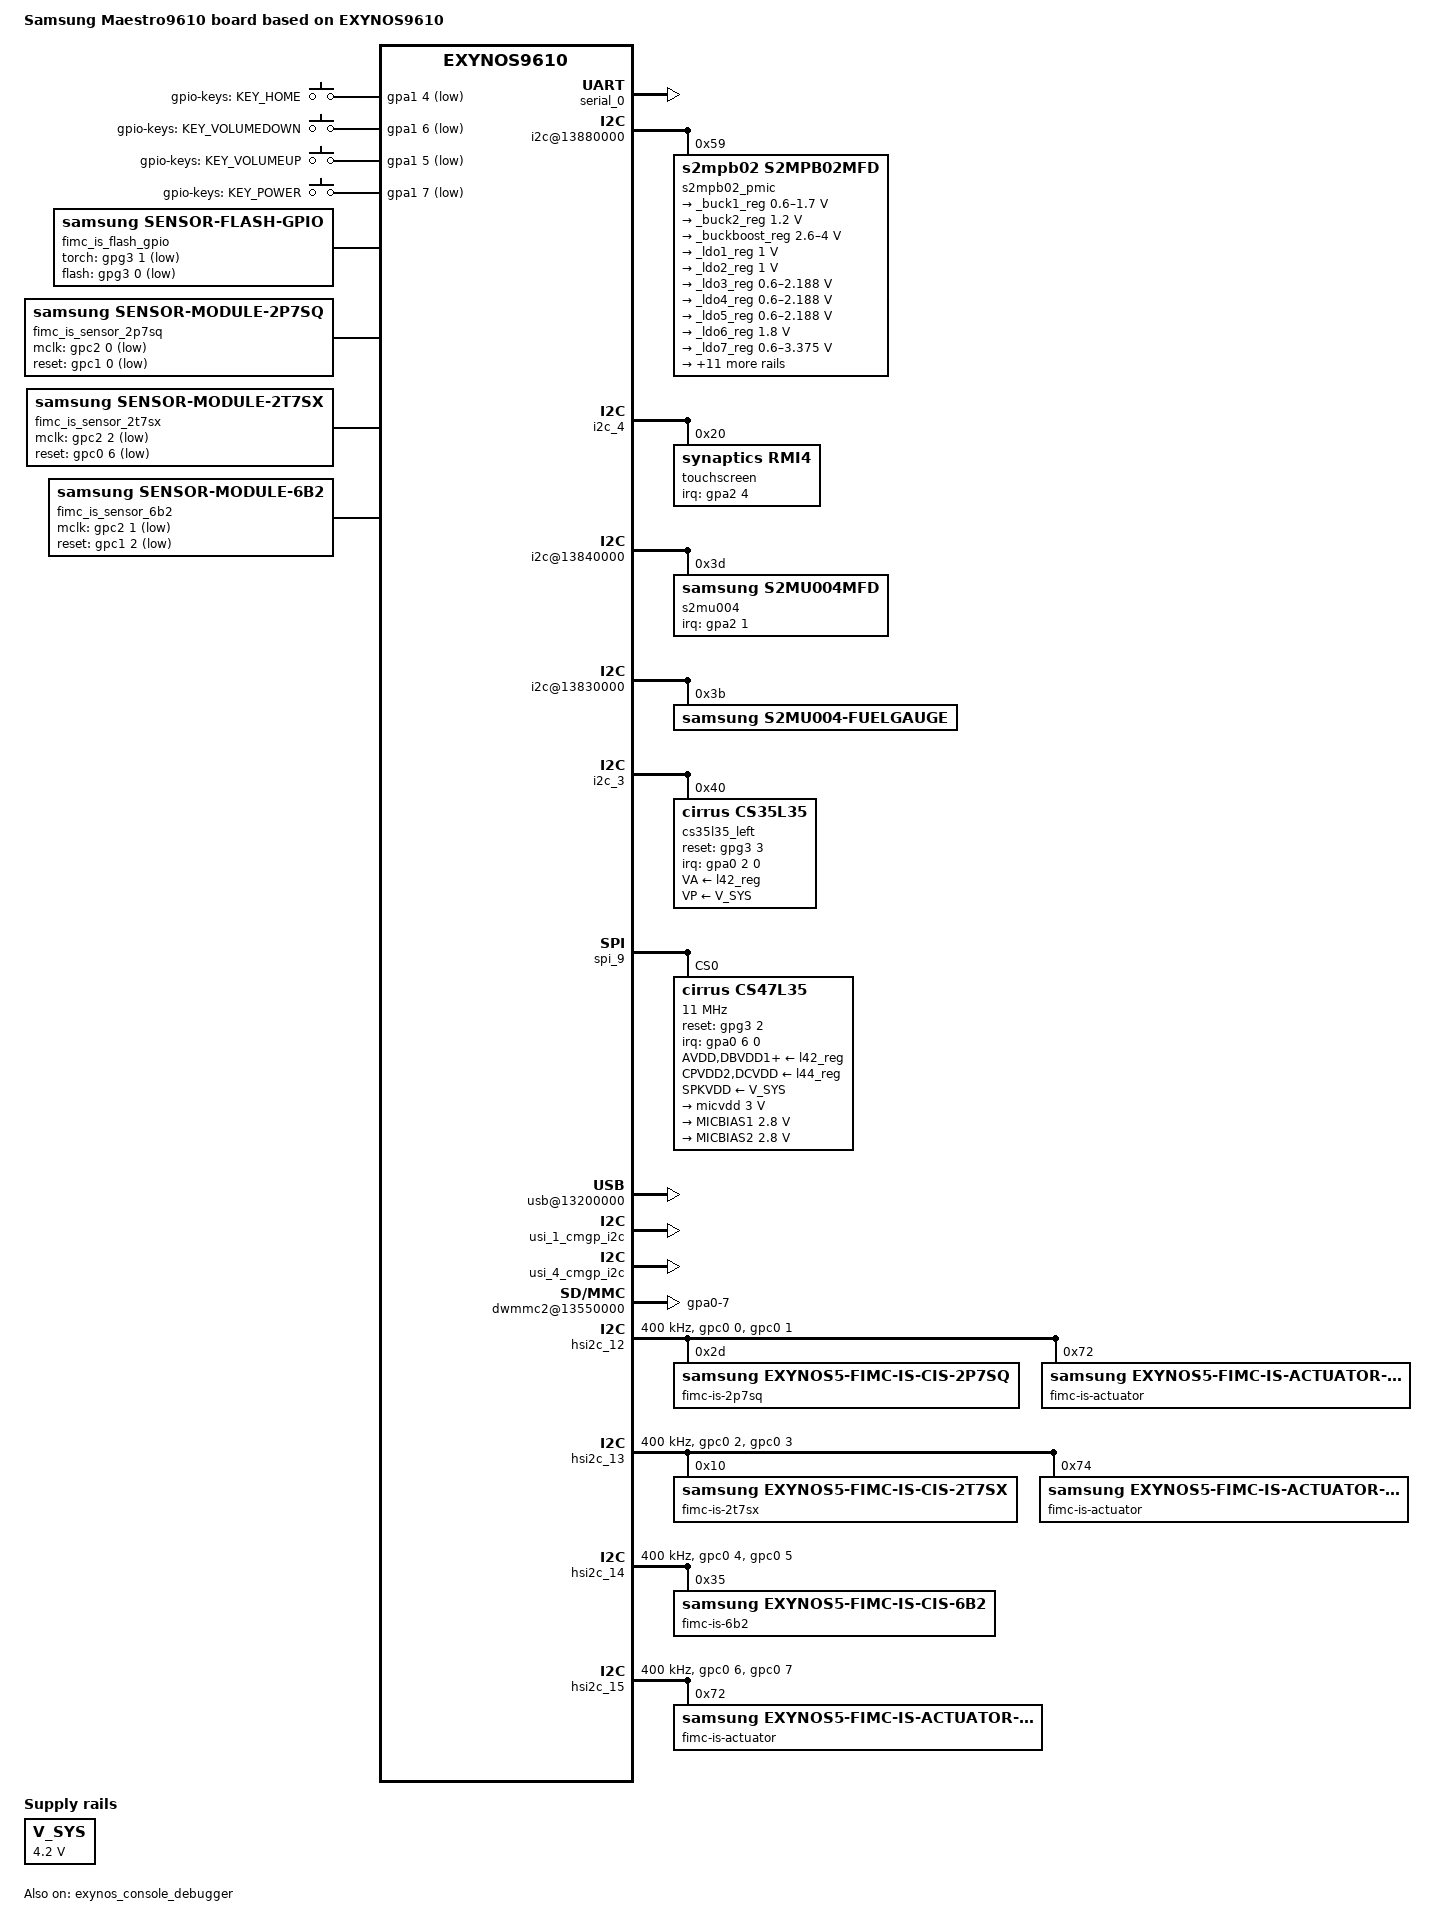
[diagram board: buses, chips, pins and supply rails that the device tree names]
/*
 * SAMSUNG EXYNOS9610 board device tree source
 *
 * Copyright (c) 2017 Samsung Electronics Co., Ltd.
 *		http://www.samsung.com
 *
 * This program is free software; you can redistribute it and/or modify
 * it under the terms of the GNU General Public License version 2 as
 * published by the Free Software Foundation.
 */

/dts-v1/;
#include "exynos9610-rmem.dtsi"
#include "exynos9610.dtsi"
#include "exynos9610-display-lcd.dtsi"
#include "exynos9610_battery_data.dtsi"
#include "modem-ss360ap-sit-pdata.dtsi"

/ {
	model = "Samsung Maestro9610 board based on EXYNOS9610";
	compatible = "samsung,exynos9610", "samsung,Maestro9610";

	ect {
		parameter_address = <0x90000000>;
		parameter_size = <0x19000>;
	};

	chosen {
		bootargs = "console=ram root=/dev/ram0 clk_ignore_unused bcm_setup=0xffffff80f8e00000 androidboot.hardware=samsungexynos9610 androidboot.selinux=permissive androidboot.debug_level=0x4948 firmware_class.path=/vendor/firmware ecd_setup=disable reserve-fimc=0xffffff80fa000000";
		linux,initrd-start = <0x84000000>;
		linux,initrd-end = <0x841FFFFF>;
	};

	fixed-rate-clocks {
		oscclk {
			compatible = "samsung,exynos9610-oscclk";
			clock-frequency = <26000000>;
		};
	};

	firmware {
		android {
			compatible = "android,firmware";
			fstab {
				compatible = "android,fstab";
				system {
					compatible = "android,system";
					dev = "/dev/block/platform/13520000.ufs/by-name/system";
					type = "ext4";
					mnt_flags = "ro";
					fsmgr_flags = "wait";
				};
				vendor {
					compatible = "android,vendor";
					dev = "/dev/block/platform/13520000.ufs/by-name/vendor";
					type = "ext4";
					mnt_flags = "ro";
					fsmgr_flags = "wait";
				};
			};
		};
	};

	serial_0: uart@13820000 {
		status = "okay";
	};

	/* UART_DBG */
	exynos_console_debugger {
		compatible = "samsung,exynos_console_debugger";
		reg = <0x0 0x13820000 0x100>;
		interrupts = <0 246 0>;
		interrupt-names = "uart_irq";
		pinctrl-names = "default";
		pinctrl-0 = <&uart0_bus>;
		uart_port = <0>;
		/* <sfr_base_address sfr_size> */
		sfr_reg = <0x10000000 0x10000000>;
		samsung,usi-serial-v2;
		status = "ok";
       };

	dsim_0: dsim@0x148E0000 {
		lcd_info = <&s6e3fa0>;
		/* reset */
		gpios = <&gpg1 4 0x1>, <&gpg1 7 0x1>;
	};

	pinctrl@11850000 {
		pmic_irq: pmic-irq {
			samsung,pins = "gpa2-0";
			samsung,pin-pud = <3>;
			samsung,pin-drv = <3>;
		};
		sub_pmic_irq: sub-pmic-irq {
			samsung,pins = "gpa1-3";
			samsung,pin-function = <0>;
			samsung,pin-pud = <0>;
			samsung,pin-drv = <0>;
		};
	};

	pinctrl@139B0000 {
		/* Warm reset information from AP */
		pm_wrsti: pm-wrsti {
			samsung,pins = "gpg0-7";
			samsung,pin-con-pdn = <3>;
		};
	};

	exynos_rgt {
		compatible = "samsung,exynos-rgt";
	};

	mailbox_cp: mcu_ipc@11920000 {
		compatible = "samsung,exynos-shd-ipc-mailbox";
		reg = <0x0 0x11920000 0x180>;
		mcu,name = "mcu_ipc_cp";
		mcu,id = <0>;
		interrupts = <0 40 0 >;
	};

	mailbox_gnss: mcu_ipc@11A00000 {
		compatible = "samsung,exynos-shd-ipc-mailbox";
		reg = <0x0 0x11A00000 0x180>;
		mcu,name = "mcu_ipc_gnss";
		mcu,id = <1>;
		interrupts = <GIC_SPI 43 IRQ_TYPE_NONE>; /* INTREQ__MAILBOX_GNSS2AP */
	};

	gnss_pdata {
		status = "okay";

		compatible = "samsung,gnss_shdmem_if";
		shmem,name = "KEPLER";
		shmem,device_node_name = "gnss_ipc";

		/* INTREQ__ALIVE_GNSS_ACTIVE, INTREQ__GNSS2AP_WDOG_RESET, INTREQ__GNSS2AP_WAKEUP, INTREQ__GNSS2AP */
		interrupts = <GIC_SPI 27 IRQ_TYPE_NONE>, <GIC_SPI 81 IRQ_TYPE_NONE>, <GIC_SPI 80 IRQ_TYPE_NONE>, <GIC_SPI 79 IRQ_TYPE_NONE>;
		interrupt-names = "ACTIVE", "WATCHDOG", "WAKEUP", "REQ_INIT";

		memory-region = <&gnss_reserved>;
		mbox_info = <&mailbox_gnss>;

		mbx,int_ap2gnss_bcmd = <0>;
		mbx,int_ap2gnss_req_fault_info = <1>;
		mbx,int_ap2gnss_ipc_msg = <2>;
		mbx,int_ap2gnss_ack_wake_set = <3>;
		mbx,int_ap2gnss_ack_wake_clr = <4>;

		mbx,irq_gnss2ap_bcmd = <0>;
		mbx,irq_gnss2ap_rsp_fault_info = <1>;
		mbx,irq_gnss2ap_ipc_msg = <2>;
		mbx,irq_gnss2ap_req_wake_clr = <4>;

		mbx,reg_bcmd_ctrl = <0>, <1>, <2>, <3>;

		reg_rx_ipc_msg = <1 5>;
		reg_tx_ipc_msg = <1 4>;
		reg_rx_head = <1 3>;
		reg_rx_tail = <1 2>;
		reg_tx_head = <1 1>;
		reg_tx_tail = <1 0>;
		fault_info = <1 0x200000 0x180000>;

		shmem,ipc_offset = <0x380000>;
		shmem,ipc_size = <0x80000>;
		shmem,ipc_reg_cnt = <32>;
	};

	speedy@11a10000 {
		status = "okay";

		s2mpu09mfd@00 {
			compatible = "samsung,s2mpu09mfd";
			acpm-ipc-channel = <2>;
			i2c-speedy-address;
			s2mpu09,wakeup = "enabled";
			s2mpu09,irq-gpio = <&gpa2 0 0>;
			reg = <0x00>;
			interrupts = <2 0 0>;
			interrupt-parent = <&gpa2>;
			pinctrl-names = "default";
			pinctrl-0 = <&pmic_irq &pm_wrsti>;
			/* RTC: wtsr/smpl */
			wtsr_en = "enabled"; /* enable */
			smpl_en = "enabled"; /* enable */
			wtsr_timer_val = <3>;	/* 1000ms */
			smpl_timer_val = <4>;	/* 500ms */
			check_jigon = <0>; /* do not check jigon */
			/* RTC: If it's first boot, reset rtc to 1/1/2017 12:00:00(Sun) */
			init_time,sec = <0>;
			init_time,min = <0>;
			init_time,hour = <12>;
			init_time,mday = <1>;
			init_time,mon = <0>;
			init_time,year = <117>;
			init_time,wday = <0>;

			regulators {
				b1_reg: BUCK1 {
					regulator-name = "vdd_mif";
					regulator-min-microvolt = <500000>;
					regulator-max-microvolt = <1100000>;
					regulator-always-on;
					regulator-ramp-delay = <12000>;
					regulator-initial-mode = <2>;
				};

				b2_reg: BUCK2 {
					regulator-name = "vdd_cpucl1";
					regulator-min-microvolt = <500000>;
					regulator-max-microvolt = <1300000>;
					regulator-always-on;
					regulator-ramp-delay = <12000>;
					regulator-initial-mode = <1>;
				};

				b3_reg: BUCK3 {
					regulator-name = "vdd_cpucl0";
					regulator-min-microvolt = <500000>;
					regulator-max-microvolt = <1300000>;
					regulator-always-on;
					regulator-ramp-delay = <12000>;
					regulator-initial-mode = <1>;
				};

				b4_reg: BUCK4{
					regulator-name = "vdd_int";
					regulator-min-microvolt = <500000>;
					regulator-max-microvolt = <1100000>;
					regulator-always-on;
					regulator-ramp-delay = <12000>;
					regulator-initial-mode = <2>;
				};

				b5_reg: BUCK5 {
					regulator-name = "vdd_g3d";
					regulator-min-microvolt = <500000>;
					regulator-max-microvolt = <1200000>;
					regulator-always-on;
					regulator-ramp-delay = <12000>;
					regulator-initial-mode = <2>;
				};

				b6_reg: BUCK6 {
					regulator-name = "vdd_cam_vipx";
					regulator-min-microvolt = <500000>;
					regulator-max-microvolt = <1300000>;
					regulator-always-on;
					regulator-ramp-delay = <12000>;
					regulator-initial-mode = <2>;
				};

				b7_reg: BUCK7 {
					regulator-name = "vdd2_mem";
					regulator-min-microvolt = <500000>;
					regulator-max-microvolt = <1300000>;
					regulator-always-on;
					regulator-ramp-delay = <12000>;
					regulator-initial-mode = <3>;
				};

				b8_reg: BUCK8 {
					regulator-name = "vdd_lldo";
					regulator-min-microvolt = <1200000>;
					regulator-max-microvolt = <1500000>;
					regulator-always-on;
					regulator-ramp-delay = <12000>;
					regulator-initial-mode = <3>;
				};

				b9_reg: BUCK9 {
					regulator-name = "vdd_mldo";
					regulator-min-microvolt = <1800000>;
					regulator-max-microvolt = <2100000>;
					regulator-always-on;
					regulator-ramp-delay = <12000>;
					regulator-initial-mode = <3>;
				};

				l1_reg: LDO1 {
					regulator-name = "vdd_ldo1";
					regulator-min-microvolt = <700000>;
					regulator-max-microvolt = <1300000>;
					regulator-always-on;
					regulator-ramp-delay = <12000>;
					regulator-initial-mode = <3>;
				};

				l2_reg: LDO2 {
					regulator-name = "vqmmc";
					regulator-min-microvolt = <1800000>;
					regulator-max-microvolt = <3375000>;
					regulator-ramp-delay = <12000>;
				};

				l3_reg: LDO3 {
					regulator-name = "vdd_ldo3";
					regulator-min-microvolt = <800000>;
					regulator-max-microvolt = <1950000>;
					regulator-always-on;
					regulator-ramp-delay = <12000>;
					regulator-initial-mode = <3>;
				};

				l4_reg: LDO4 {
					regulator-name = "vdd_ldo4";
					regulator-min-microvolt = <500000>;
					regulator-max-microvolt = <1100000>;
					regulator-always-on;
					regulator-ramp-delay = <12000>;
					regulator-initial-mode = <1>;
				};

				l5_reg: LDO5 {
					regulator-name = "vdd_ldo5";
					regulator-min-microvolt = <800000>;
					regulator-max-microvolt = <1300000>;
					regulator-always-on;
					regulator-ramp-delay = <12000>;
					regulator-initial-mode = <1>;
				};

				l6_reg: LDO6 {
					regulator-name = "vdd_ldo6";
					regulator-min-microvolt = <800000>;
					regulator-max-microvolt = <1300000>;
					regulator-always-on;
					regulator-ramp-delay = <12000>;
					regulator-initial-mode = <1>;
				};

				l7_reg: LDO7 {
					regulator-name = "vdd_ldo7";
					regulator-min-microvolt = <800000>;
					regulator-max-microvolt = <1950000>;
					regulator-always-on;
					regulator-ramp-delay = <12000>;
					regulator-initial-mode = <1>;
				};

				l8_reg: LDO8 {
					regulator-name = "vdd_ldo8";
					regulator-min-microvolt = <500000>;
					regulator-max-microvolt = <1300000>;
					regulator-always-on;
					regulator-ramp-delay = <12000>;
					regulator-initial-mode = <1>;
				};

				l9_reg: LDO9 {
					regulator-name = "vdd_ldo9";
					regulator-min-microvolt = <500000>;
					regulator-max-microvolt = <1300000>;
					regulator-always-on;
					regulator-ramp-delay = <12000>;
					regulator-initial-mode = <1>;
				};

				l10_reg: LDO10 {
					regulator-name = "vdd_ldo10";
					regulator-min-microvolt = <500000>;
					regulator-max-microvolt = <1300000>;
					regulator-always-on;
					regulator-ramp-delay = <12000>;
					regulator-initial-mode = <1>;
				};

				l11_reg: LDO11 {
					regulator-name = "vdd_ldo11";
					regulator-min-microvolt = <500000>;
					regulator-max-microvolt = <1300000>;
					regulator-always-on;
					regulator-ramp-delay = <12000>;
					regulator-initial-mode = <3>;
				};

				l12_reg: LDO12 {
					regulator-name = "vdd_ldo12";
					regulator-min-microvolt = <800000>;
					regulator-max-microvolt = <1300000>;
					regulator-always-on;
					regulator-ramp-delay = <12000>;
					regulator-initial-mode = <3>;
				};

				l13_reg: LDO13 {
					regulator-name = "vdd_ldo13";
					regulator-min-microvolt = <800000>;
					regulator-max-microvolt = <1950000>;
					regulator-always-on;
					regulator-ramp-delay = <12000>;
					regulator-initial-mode = <3>;
				};

				l14_reg: LDO14 {
					regulator-name = "vdd_ldo14";
					regulator-min-microvolt = <1800000>;
					regulator-max-microvolt = <3375000>;
					regulator-always-on;
					regulator-ramp-delay = <12000>;
					regulator-initial-mode = <3>;
				};

				l33_reg: LDO33 {
					regulator-name = "vdd_ldo33";
					regulator-min-microvolt = <800000>;
					regulator-max-microvolt = <1950000>;
					regulator-ramp-delay = <12000>;
				};

				l34_reg: LDO34 {
					regulator-name = "vdd_ldo34";
					regulator-min-microvolt = <1800000>;
					regulator-max-microvolt = <3375000>;
					regulator-ramp-delay = <12000>;
				};

				l35_reg: LDO35 {
					regulator-name = "vmmc";
					regulator-min-microvolt = <1800000>;
					regulator-max-microvolt = <3375000>;
					regulator-ramp-delay = <12000>;
				};

				l36_reg: LDO36 {
					regulator-name = "vdd_ldo36";
					regulator-min-microvolt = <500000>;
					regulator-max-microvolt = <1300000>;
					regulator-always-on;
					regulator-ramp-delay = <12000>;
					regulator-initial-mode = <1>;
				};

				l37_reg: LDO37 {
					regulator-name = "vdd_ldo37";
					regulator-min-microvolt = <1800000>;
					regulator-max-microvolt = <3375000>;
					regulator-ramp-delay = <12000>;
				};

				l38_reg: LDO38 {
					regulator-name = "vdd_ldo38";
					regulator-min-microvolt = <1800000>;
					regulator-max-microvolt = <3375000>;
					regulator-ramp-delay = <12000>;
					regulator-always-on;
				};

				l39_reg: LDO39 {
					regulator-name = "vdd_ldo39";
					regulator-min-microvolt = <800000>;
					regulator-max-microvolt = <1950000>;
					regulator-ramp-delay = <12000>;
					regulator-always-on;
				};

				l40_reg: LDO40 {
					regulator-name = "vdd_ldo40";
					regulator-min-microvolt = <1800000>;
					regulator-max-microvolt = <3375000>;
					regulator-ramp-delay = <12000>;
					regulator-initial-mode = <3>;
					regulator-always-on;
				};

				l41_reg: LDO41 {
					regulator-name = "vdd_ldo41";
					regulator-min-microvolt = <1800000>;
					regulator-max-microvolt = <3375000>;
					regulator-ramp-delay = <12000>;
				};

				l42_reg: LDO42 {
					regulator-name = "vdd_ldo42";
					regulator-min-microvolt = <800000>;
					regulator-max-microvolt = <1950000>;
					regulator-ramp-delay = <12000>;
				};

				l43_reg: LDO43 {
					regulator-name = "vdd_ldo43";
					regulator-min-microvolt = <500000>;
					regulator-max-microvolt = <1300000>;
					regulator-always-on;
					regulator-ramp-delay = <12000>;
					regulator-initial-mode = <1>;
				};

				l44_reg: LDO44 {
					regulator-name = "vdd_ldo44";
					regulator-min-microvolt = <800000>;
					regulator-max-microvolt = <1300000>;
					regulator-ramp-delay = <12000>;
				};
			};
		};
	};

	i2c@13880000 {
		status = "okay";
		s2mpb02_pmic@59 {
			compatible = "s2mpb02,s2mpb02mfd";
			reg = <0x59>;

			s2mpb02,wakeup;
			pinctrl-names = "default";
			pinctrl-0 = <&sub_pmic_irq>;

			regulators {
				_buck1_reg: s2mpb02-buck1 {
					regulator-name = "VDD_EXT_1P3_PB03";
					regulator-min-microvolt = <600000>;
					regulator-max-microvolt = <1700000>;
					regulator-always-on;
					regulator-boot-on;
				};

				_buck2_reg: s2mpb02-buck2 {
					regulator-name = "SVDDD_1.2V";
					regulator-min-microvolt = <1200000>;
					regulator-max-microvolt = <1200000>;
				};

				_buckboost_reg: s2mpb02-bb {
					regulator-name = "VREG_BOOST_BYP";
					regulator-min-microvolt = <2600000>;
					regulator-max-microvolt = <4000000>;
					regulator-always-on;
					regulator-boot-on;
				};

				_ldo1_reg: s2mpb02-ldo1 {
					regulator-name = "VDDD_1.0V_CAM_T";
					regulator-min-microvolt = <1000000>;
					regulator-max-microvolt = <1000000>;
				};

				_ldo2_reg: s2mpb02-ldo2 {
					regulator-name = "VDDD_1.0V_CAM";
					regulator-min-microvolt = <1000000>;
					regulator-max-microvolt = <1000000>;
				};

				_ldo3_reg: s2mpb02-ldo3 {
					regulator-name = "VDDD_1.05V_SUB";
					regulator-min-microvolt = <600000>;
					regulator-max-microvolt = <2187500>;
				};

				_ldo4_reg: s2mpb02-ldo4 {
					regulator-name = "S2MPB02_LDO4";
					regulator-min-microvolt = <600000>;
					regulator-max-microvolt = <2187500>;
				};

				_ldo5_reg: s2mpb02-ldo5 {
					regulator-name = "VDDD_1.05V_VT";
					regulator-min-microvolt = <600000>;
					regulator-max-microvolt = <2187500>;
				};

				_ldo6_reg: s2mpb02-ldo6 {
					regulator-name = "VDDIO_1.8V_CAM_T";
					regulator-min-microvolt = <1800000>;
					regulator-max-microvolt = <1800000>;
				};

				_ldo7_reg: s2mpb02-ldo7 {
					regulator-name = "VDDIO_1.8V_SUB";
					regulator-min-microvolt = <600000>;
					regulator-max-microvolt = <3375000>;
				};

				_ldo8_reg: s2mpb02-ldo8 {
					regulator-name = "VDDIO_1.8V_CAM";
					regulator-min-microvolt = <1800000>;
					regulator-max-microvolt = <1800000>;
				};

				_ldo9_reg: s2mpb02-ldo9 {
					regulator-name = "DOVDD_VT_CAM_1V8";
					regulator-min-microvolt = <1800000>;
					regulator-max-microvolt = <1800000>;
				};

				_ldo10_reg: s2mpb02-ldo10 {
					regulator-name = "VDDD_1.8V_OIS";
					regulator-min-microvolt = <600000>;
					regulator-max-microvolt = <3375000>;
				};

				_ldo11_reg: s2mpb02-ldo11 {
					regulator-name = "VDDA_2.8V_CAM";
					regulator-min-microvolt = <2800000>;
					regulator-max-microvolt = <2800000>;
				};

				_ldo12_reg: s2mpb02-ldo12 {
					regulator-name = "VDDD_2.8V_OIS";
					regulator-min-microvolt = <2800000>;
					regulator-max-microvolt = <2800000>;
				};

				_ldo13_reg: s2mpb02-ldo13 {
					regulator-name = "VDDA_2.8V_CAM_T";
					regulator-min-microvolt = <2800000>;
					regulator-max-microvolt = <2800000>;
				};

				_ldo14_reg: s2mpb02-ldo14 {
					regulator-name = "VDD_VT_CAM_2V8";
					regulator-min-microvolt = <2800000>;
					regulator-max-microvolt = <2800000>;
				};

				_ldo15_reg: s2mpb02-ldo15 {
					regulator-name = "VDDD_2.8V_OIS_T";
					regulator-min-microvolt = <2800000>;
					regulator-max-microvolt = <2800000>;
				};

				_ldo16_reg: s2mpb02-ldo16 {
					regulator-name = "VDD_2.8V_OIS";
					regulator-min-microvolt = <2800000>;
					regulator-max-microvolt = <2800000>;
				};

				_ldo17_reg: s2mpb02-ldo17 {
					regulator-name = "S2MPB02_LDO17";
					regulator-min-microvolt = <600000>;
					regulator-max-microvolt = <3375000>;
				};

				_ldo18_reg: s2mpb02-ldo18 {
					regulator-name = "VDD_PROXY_LED_3P3";
					regulator-min-microvolt = <600000>;
					regulator-max-microvolt = <3375000>;
				};
			};

			torch {
				torch1-gpio = "gpg3-1";
				flash1-gpio = "gpg3-0";

				status = "okay";

				leds1 {
					ledname = "leds-sec1";
					id = <0>;
					brightness = <0xC>; /* (n+1)x100 : 1300mA */
					timeout = <0x7>; /* (n+1)x62.6 : 500ms */
					torch_table_enable = <0>;
				};

				leds2 {
					ledname = "torch-sec1";
					id = <1>;
					brightness = <0xC>; /* (n+1)x20 = 260mA */
					timeout = <0xF>;
					torch_table_enable = <1>;
					torch_table = <2 4 4 5 6 8 9 10 10 12>;
				};
			};
		};
	};

	gpio_keys {
		status = "okay";
		compatible = "gpio-keys";
		#address-cells = <1>;
		#size-cells = <0>;
		pinctrl-names = "default";
		pinctrl-0 = <&key_home &key_voldown &key_volup &key_power>;
		button@1 {
			label = "gpio-keys: KEY_HOME";
			linux,code = <172>;
			gpios = <&gpa1 4 0xf>;
			gpio-key,wakeup = <1>;
		};
		button@2 {
			label = "gpio-keys: KEY_VOLUMEDOWN";
			linux,code = <114>;
			gpios = <&gpa1 6 0xf>;
		};
		button@3 {
			label = "gpio-keys: KEY_VOLUMEUP";
			linux,code = <115>;
			gpios = <&gpa1 5 0xf>;
		};
		button@4 {
			label = "gpio-keys: KEY_POWER";
			linux,code = <116>;
			gpios = <&gpa1 7 0xf>;
			gpio-key,wakeup = <1>;
		};
	};

	pinctrl@11850000 {
		key_home: key-home {
			samsung,pins = "gpa1-4";
			samsung,pin-function = <0xf>;
			samsung,pin-pud = <0>;
			samsung,pin-drv = <0>;
		};

		key_voldown: key-voldown {
			samsung,pins = "gpa1-6";
			samsung,pin-function = <0xf>;
			samsung,pin-pud = <0>;
			samsung,pin-drv = <0>;
		};

		key_volup: key-volup {
			samsung,pins = "gpa1-5";
			samsung,pin-function = <0xf>;
			samsung,pin-pud = <0>;
			samsung,pin-drv = <0>;
		};
		key_power: key-power {
			samsung,pins = "gpa1-7";
			samsung,pin-function = <0xf>;
			samsung,pin-pud = <0>;
			samsung,pin-drv = <0>;
		};
	};

	i2c_4:i2c@13870000 {
		status = "okay";
		#address-cells = <1>;
		#size-cells = <0>;
		touchscreen@20 {
			compatible = "synaptics,rmi4";
			reg = <0x20>;
			pinctrl-names = "on_state", "off_state";
			pinctrl-0 = <&attn_irq>;
			pinctrl-1 = <&attn_input>;
			synaptics,irq_gpio = <&gpa2 4 0>;
			synaptics,irq_type = <8200>;
			synaptics,max_coords = <1440 2560>;     /* x y */
			synaptics,num_lines = <29 16>;          /* rx tx */
			synaptics,regulator_dvdd = "VDDD_1.8V_OIS";
			synaptics,regulator_avdd = "vdd_ldo41";
		};
	};

	pinctrl@11850000 {
		attn_irq: attn-irq {
			samsung,pins = "gpa2-4";
			samsung,pin-function = <0xf>;
			samsung,pin-pud = <0>;
			samsung,pin-drv = <0>;
		};
		attn_input: attn-input {
			samsung,pins = "gpa2-4";
			samsung,pin-function = <0>;
			samsung,pin-pud = <1>;
		};

		fuel_irq: fuel-irq {
			samsung,pins = "gpa2-3";
			samsung,pin-function = <0>;
			samsung,pin-pud = <2>;
			samsung,pin-drv = <0>;
		};

		if_pmic_irq: if-pmic-irq {
			samsung,pins = "gpa2-1";
			samsung,pin-function = <0>;
			samsung,pin-pud = <0>;
			samsung,pin-drv = <0>;
		};
	};

	i2c@13840000 {
		status = "okay";
		s2mu004@3d {
			compatible = "samsung,s2mu004mfd";
			reg = <0x3d>;
			pinctrl-names = "default";
			pinctrl-0 = <&if_pmic_irq>;
			s2mu004,irq-gpio = <&gpa2 1 0>;
			s2mu004,wakeup;
		};

		muic {
			status = "okay";
			muic,uart_addr = "11850000.pinctrl";
			muic,uart_rxd = "gpq0-3";
			muic,uart_txd = "gpq0-4";
		};
	};

	s2mu004-charger {
		status = "okay";
		battery,charger_name = "s2mu004-charger";
		battery,chg_gpio_en = <0>;
		battery,chg_polarity_en = <0>;
		battery,chg_gpio_status = <0>;
		battery,chg_polarity_status = <0>;
		battery,chg_float_voltage = <4350>;
		battery,chg_recharge_vcell = <4250>;
		battery,chg_full_vcell = <4300>;
		battery,full_check_type = <2>;
		battery,full_check_type_2nd = <2>;
		battery,input_current_limit = <1800 450 450 1800 500 900 1500 450 1000 450 900 900 900 1900 1800 450 450 400 700 1300 300 1000 1500 450 1650 2100 500 1650 80 1800 1650 1400 1000 1000 700 900 900 900 500 1800 1650 3000>;
		battery,fast_charging_current = <2100 450 450 2100 800 1200 1500 450 1200 450 2100 2100 2100 1600 2100 450 450 400 700 1300 300 1000 1500 450 2400 3500 500 2400 80 1800 1000 1400 450 1000 2100 2100 2100 2100 450 2100 2400 3000>;
		battery,full_check_current_1st = <300 0 0 300 300 300 300 300 300 0 300 300 300 300 300 0 0 300 300 300 300 300 300 0 300 300 300 300 0 300 300 300 0 300 300 300 300 300 300 300 300 300>;
		battery,full_check_current_2nd = <100 0 0 100 100 100 100 100 100 0 100 100 100 100 100 0 0 100 100 100 100 100 100 0 100 100 100 100 0 100 100 100 0 100 100 100 100 100 100 100 100 100>;
	};

	i2c@13830000 {
		status = "okay";
		s2mu004-fuelgauge@3B {
			compatible = "samsung,s2mu004-fuelgauge";
			reg = <0x3B>;
			pinctrl-names = "default";
			pinctrl-0 = <&fuel_irq>;
			fuelgauge,fuel_int = <&gpa2 3 0>;
			fuelgauge,fuel_alert_soc = <1>;
			fuelgauge,capacity_max = <1000>;
			fuelgauge,capacity_max_margin = <70>;
			fuelgauge,capacity_min = <0>;
			fuelgauge,capacity_calculation_type = <28>;
			fuelgauge,type_str = "SDI";
			fuelgauge,model_type = <1>;
		};
	};

	V_SYS: fixedregulator@0 {
		compatible = "regulator-fixed";
		regulator-name = "V_SYS";
		regulator-min-microvolt = <4200000>;
		regulator-max-microvolt = <4200000>;
		regulator-boot-on;
		regulator-always-on;
	};


	pinctrl@11850000 {
		amp_irq: amp-irq {
			samsung,pins ="gpa0-2";
			samsung,pin-function = <0xf>;
			samsung,pin-pud = <0>;
		};
	};

	pinctrl@139B0000 {
		amp_reset: amp-reset {
			samsung,pins ="gpg3-3";
			samsung,pin-pud = <0>;
			samsung,pin-con-pdn =<3>;
			samsung,pin-pud-pdn = <0>;
		};
	};

	i2c_3: i2c@13860000 {
		status = "okay";
		cs35l35_left: cs35l35@40 {
			#sound-dai-cells = <1>;
			compatible = "cirrus,cs35l35";
			reg = <0x40>;

			pinctrl-names = "default";
			pinctrl-0 = <&amp_irq &amp_reset>;

			interrupt-parent = <&gpa0>;
			interrupts = <2 0 0>;

			reset-gpios = <&gpg3 3 0>;

			VA-supply = <&l42_reg>;
			VP-supply = <&V_SYS>;

			cirrus,audio-channel = <0x0>;
			cirrus,boost-ctl-millivolt = <7300>;
			cirrus,sp-drv-strength = <0x1>;
			cirrus,sp-drv-unused = <0x0>;
			cirrus,boost-ind-nanohenry = <1000>;

			cirrus,monitor-signal-format {
				cirrus,imon = /bits/ 8 <0x03 0x04 0x00 0x06>;
				cirrus,vmon = /bits/ 8 <0x03 0x00 0x00>;
				cirrus,vpmon = /bits/ 8 <0x00 0x00 0x00>;
				cirrus,vbstmon = /bits/ 8 <0x00 0x00 0x00>;
				cirrus,vpbrstat = /bits/ 8 <0x00 0x00 0x00>;
				cirrus,zerofill = /bits/ 8 <0x00 0x00 0x00>;
			};
		};
	};

	pinctrl@139B0000 {
		codec_reset: codec-reset {
			samsung,pins ="gpg3-2";
			samsung,pin-pud = <0>;
			samsung,pin-con-pdn =<3>;
			samsung,pin-pud-pdn = <0>;
		};
	};

	spi_9: spi@13940000 {
		pinctrl-names = "default";
		pinctrl-0 = <&spi9_bus &spi9_cs_func>;
		status = "okay";
		cs47l35: cs47l35@0 {
			compatible = "cirrus,cs47l35";
			reg = <0x0>;

			spi-max-frequency = <11000000>;

			interrupts = <6 0 0>;
			interrupt-controller;
			#interrupt-cells = <2>;
			interrupt-parent = <&gpa0>;
			gpio-controller;
			#gpio-cells = <2>;
			#sound-dai-cells = <1>;

			AVDD-supply = <&l42_reg>;
			DBVDD1-supply = <&l42_reg>;
			DBVDD2-supply = <&l42_reg>;
			CPVDD1-supply = <&l42_reg>;
			CPVDD2-supply = <&l44_reg>;
			DCVDD-supply = <&l44_reg>;
			SPKVDD-supply = <&V_SYS>;

			reset-gpios = <&gpg3 2 0>;

			cirrus,dmic-ref = <0 0 0>;
			cirrus,inmode = <
				0 0 0 0 /* IN1 */
				0 0 0 0 /* IN2 */
			>;

			cirrus,gpsw = <3 0>;

			pinctrl-names = "default";
			pinctrl-0 = <&cs47l35_defaults &codec_reset>;

			cs47l35_defaults: cs47l35-gpio-defaults {
				aif1 {
					groups = "aif1";
					function = "aif1";
					bias-bus-hold;
				};

				aif2 {
					groups = "aif2";
					function = "aif2";
					bias-bus-hold;
				};

				aif3 {
					groups = "aif3";
					function = "aif3";
					bias-bus-hold;
				};

				gpio6 { /* Amp Clock */
					groups = "gpio6";
					function = "opclk";
					bias-pull-up;
					output-low;
				};

				gpio5 { /* Mic Polarity Flip */
					groups = "gpio5";
					function = "io";
				};
			};

			micvdd {
				regulator-min-microvolt = <3000000>;
				regulator-max-microvolt = <3000000>;
			};

			MICBIAS1 {
				regulator-min-microvolt = <2800000>;
				regulator-max-microvolt = <2800000>;
				cirrus,ext-cap = <1>;
			};
			MICBIAS1A {
				regulator-active-discharge = <1>;
			};
			MICBIAS1B {
				regulator-active-discharge = <1>;
			};

			MICBIAS2 {
				regulator-min-microvolt = <2800000>;
				regulator-max-microvolt = <2800000>;
				cirrus,ext-cap = <1>;
			};
			MICBIAS2B {
				regulator-active-discharge = <1>;
			};

			cirrus,accdet {
				#address-cells = <1>;
				#size-cells = <0>;

				acc@1 {
					reg = <1>;

					cirrus,micd-configs = <
						0 0 3 0 0
					>;
					cirrus,micd-bias-start-time = <8>;
					cirrus,micd-rate = <6>;
					cirrus,micd-pol-gpios = <&cs47l35 4 0>;
					cirrus,micd-detect-debounce-ms = <500>;
					cirrus,jd-use-jd2;
					cirrus,micd-clamp-mode = <0x8>;
				};
			};

			controller-data {
				samsung,spi-feedback-delay = <1>;
				samsung,spi-chip-select-mode = <0>;
			};
		};
	};

	dummy_audio_codec: audio_codec_dummy {
		status = "okay";
		compatible = "snd-soc-dummy";
	};

	dummy_audio_cpu: audio_cpu_dummy {
		compatible = "samsung,dummy-cpu";
		status = "okay";
	};

	sound {
		status = "okay";
		compatible = "samsung,exynos9610-madera";

		clock-names = "xclkout";
		clocks = <&clock OSC_AUD>;
		pinctrl-names = "default";
		pinctrl-0 = <&xclkout0>;

		cirrus,sysclk = <1 4 98304000>;
		cirrus,dspclk = <8 4 147456000>;
		cirrus,fll1-refclk = <1 0 26000000 98304000>;

		cirrus,opclk = <3 0 12288000>;

		samsung,routing =
			"HEADSETMIC", "MICBIAS2B",
			"MICBIAS2A", "MICBIAS2B",
			"IN1BL", "HEADSETMIC",
			"DMIC1", "MICBIAS1A",
			"IN1AL", "DMIC1",
			"DMIC2", "MICBIAS1B",
			"IN2L", "DMIC2",
			"RECEIVER", "EPOUTN",
			"RECEIVER", "EPOUTP",
			"HEADPHONE", "HPOUTL",
			"HEADPHONE", "HPOUTR",
			"AIF2 Playback", "OPCLK",
			"AIF2 Capture", "OPCLK",
			"VOUTPUT", "ABOX UAIF0 Playback",
			"SPEAKER", "Left SPK",
			"VOUTPUTCALL", "ABOX UAIF2 Playback",
			"ABOX UAIF2 Capture", "VINPUTCALL";

		samsung,codec = <&abox &abox_uaif_0 &abox_uaif_1 &abox_uaif_2
			&abox_uaif_4 &abox_dsif &abox_spdy &cs35l35_left>;
		samsung,prefix = "ABOX", "ABOX", "ABOX", "ABOX",
			"ABOX", "ABOX", "ABOX", "Left";
		samsung,aux = <&abox_effect &abox_bt>;

		rdma@0 {
			cpu {
				sound-dai = <&abox 0>;
			};
			platform {
				sound-dai = <&abox_rdma_0>;
			};
			codec {
				sound-dai = <&dummy_audio_codec>;
			};
		};
		rdma@1 {
			cpu {
				sound-dai = <&abox 1>;
			};
			platform {
				sound-dai = <&abox_rdma_1>;
			};
			codec {
				sound-dai = <&dummy_audio_codec>;
			};
		};
		rdma@2 {
			cpu {
				sound-dai = <&abox 2>;
			};
			platform {
				sound-dai = <&abox_rdma_2>;
			};
			codec {
				sound-dai = <&dummy_audio_codec>;
			};
		};
		rdma@3 {
			cpu {
				sound-dai = <&abox 3>;
			};
			platform {
				sound-dai = <&abox_rdma_3>;
			};
			codec {
				sound-dai = <&dummy_audio_codec>;
			};
		};
		rdma@4 {
			cpu {
				sound-dai = <&abox 4>;
			};
			platform {
				sound-dai = <&abox_rdma_4>;
			};
			codec {
				sound-dai = <&dummy_audio_codec>;
			};
		};
		rdma@5 {
			cpu {
				sound-dai = <&abox 5>;
			};
			platform {
				sound-dai = <&abox_rdma_5>;
			};
			codec {
				sound-dai = <&dummy_audio_codec>;
			};
		};
		rdma@6 {
			cpu {
				sound-dai = <&abox 6>;
			};
			platform {
				sound-dai = <&abox_rdma_6>;
			};
			codec {
				sound-dai = <&dummy_audio_codec>;
			};
		};
		rdma@7 {
			cpu {
				sound-dai = <&abox 7>;
			};
			platform {
				sound-dai = <&abox_rdma_7>;
			};
			codec {
				sound-dai = <&dummy_audio_codec>;
			};
		};
		wdma@0 {
			cpu {
				sound-dai = <&abox 8>;
			};
			platform {
				sound-dai = <&abox_wdma_0>;
			};
			codec {
				sound-dai = <&dummy_audio_codec>;
			};
		};
		wdma@1 {
			cpu {
				sound-dai = <&abox 9>;
			};
			platform {
				sound-dai = <&abox_wdma_1>;
			};
			codec {
				sound-dai = <&dummy_audio_codec>;
			};
		};
		wdma@2 {
			cpu {
				sound-dai = <&abox 10>;
			};
			platform {
				sound-dai = <&abox_wdma_2>;
			};
			codec {
				sound-dai = <&dummy_audio_codec>;
			};
		};
		wdma@3 {
			cpu {
				sound-dai = <&abox 11>;
			};
			platform {
				sound-dai = <&abox_wdma_3>;
			};
			codec {
				sound-dai = <&dummy_audio_codec>;
			};
		};
		wdma@4 {
			cpu {
				sound-dai = <&abox 12>;
			};
			platform {
				sound-dai = <&abox_wdma_4>;
			};
			codec {
				sound-dai = <&dummy_audio_codec>;
			};
		};
/** ToDo: enable dp_audio link after enabling DP Audio
 *		dp_audio@0 {
 *			cpu {
 *				sound-dai = <&dummy_audio_cpu>;
 *			};
 *			codec {
 *				sound-dai = <&dummy_audio_codec>;
 *			};
 *		};
 */
		uaif@0 {
			format = "i2s";
			cpu {
				sound-dai = <&abox_uaif_0>;
			};
			codec {
				sound-dai = <&cs47l35 0>;
			};
		};
		uaif@1 {
			format = "i2s";
			cpu {
				sound-dai = <&abox_uaif_1>;
			};
			codec {
				sound-dai = <&dummy_audio_codec>;
			};
		};
		uaif@2 {
			format = "i2s";
			cpu {
				sound-dai = <&abox_uaif_2>;
			};
			codec {
				sound-dai = <&cs47l35 2>;
			};
		};
		uaif@4 {
			format = "i2s";
			bitclock-master;
			frame-master;
			cpu {
				sound-dai = <&abox_uaif_4>;
			};
			codec {
				sound-dai = <&dummy_audio_codec>;
			};
		};
		dsif@0 {
			format = "pdm";
			cpu {
				sound-dai = <&abox_dsif>;
			};
			codec {
				sound-dai = <&dummy_audio_codec>;
			};
		};
		spdy@0 {
			cpu {
				sound-dai = <&abox_spdy>;
			};
			codec {
				sound-dai = <&dummy_audio_codec>;
			};
		};
		sifs0@0 {
			cpu {
				sound-dai = <&abox 13>;
			};
			codec {
				sound-dai = <&dummy_audio_codec>;
			};
		};
		sifs1@0 {
			cpu {
				sound-dai = <&abox 14>;
			};
			codec {
				sound-dai = <&dummy_audio_codec>;
			};
		};
		sifs2@0 {
			cpu {
				sound-dai = <&abox 15>;
			};
			codec {
				sound-dai = <&dummy_audio_codec>;
			};
		};
		codec-left-amp@0 {
			format = "i2s";

			cpu {
				sound-dai = <&cs47l35 1>;
			};
			codec {
				sound-dai = <&cs35l35_left 0>;
			};
		};

	};

	usb@13200000 {
		status = "okay";
		dwc3 {
			dr_mode = "otg";
			maximum-speed = "high-speed";
		};
	};

	phy@131D0000 {
		status = "okay";

		hs_tune_param = <&usb_hs_tune>;
	};

	usb_hs_tune:hs_tune {
		hs_tune_cnt = <12>;

		/* value = <device host> */
		hs_tune1 {
			tune_name = "tx_vref";
			tune_value = <0xf 0xf>;
		};

		hs_tune2 {
			tune_name = "tx_pre_emp";
			tune_value = <0x3 0x3>;
		};

		hs_tune3 {
			tune_name = "tx_pre_emp_plus";
			tune_value = <0x0 0x0>;
		};

		hs_tune4 {
			tune_name = "tx_res";
			tune_value = <0x3 0x3>;
		};

		hs_tune5 {
			tune_name = "tx_rise";
			tune_value = <0x3 0x3>;
		};

		hs_tune6 {
			tune_name = "tx_hsxv";
			tune_value = <0x3 0x3>;
		};

		hs_tune7 {
			tune_name = "tx_fsls";
			tune_value = <0x3 0x3>;
		};

		hs_tune8 {
			tune_name = "rx_sqrx";
			tune_value = <0x7 0x7>;
		};

		hs_tune9 {
			tune_name = "compdis";
			tune_value = <0x7 0x7>;
		};

		hs_tune10 {
			tune_name = "otg";
			tune_value = <0x2 0x2>;
		};

		hs_tune11 {
		/* true : 1, false: 0 */
		/* <enable_user_imp user_imp_value> */
			tune_name = "enable_user_imp";
			tune_value = <0x0 0x0>;
		};

		hs_tune12 {
		/* PHY clk : 1 , FREE clk : 0 */
			tune_name = "is_phyclock";
			tune_value = <0x1 0x1>;
		};
	};

	/* USI_0_SHUB */
	usi_0_shub: usi@11013000 {
		usi_v2_mode = "spi";
		status = "okay";
	};

	/* USI_SHUB_0_I2C */
	usi_0_shub_i2c: usi@11013018 {
		/*	usi_v2_mode = "i2c" or "spi" or "uart"	*/
		status = "disabled";
	};

	/* USI_0_CMGP */
	usi_0_cmgp: usi@11C12000 {
		/*	usi_v2_mode = "i2c" or "spi" or "uart"	*/
		status = "disabled";
	};

	/* USI_0_CMGP_I2C */
	usi_0_cmgp_i2c: usi@11C12004 {
		/*	usi_v2_mode = "i2c" or "spi" or "uart"	*/
		status = "disabled";
	};

	/* USI_1_CMGP */
	usi_1_cmgp: usi@11C12010 {
		usi_v2_mode = "i2c";
		status = "okay";
	};

	/* USI_1_CMGP_I2C */
	usi_1_cmgp_i2c: usi@11C12014 {
		usi_v2_mode = "i2c";
		status = "okay";
	};

	/* USI_2_CMGP */
	usi_2_cmgp: usi@11C12020 {
		/*	usi_v2_mode = "i2c" or "spi" or "uart"	*/
		status = "disabled";
	};

	/* USI_2_CMGP_I2C */
	usi_2_cmgp_i2c: usi@11C12024 {
		/*	usi_v2_mode = "i2c" or "spi" or "uart"	*/
		status = "disabled";
	};

	/* USI_3_CMGP */
	usi_3_cmgp: usi@11C12030 {
		/*	usi_v2_mode = "i2c" or "spi" or "uart"	*/
		status = "disabled";
	};

	/* USI_3_CMGP_I2C */
	usi_3_cmgp_i2c: usi@11C12034 {
		/*	usi_v2_mode = "i2c" or "spi" or "uart"	*/
		status = "disabled";
	};

	/* USI_4_CMGP */
	usi_4_cmgp: usi@11C12040 {
		usi_v2_mode = "i2c";
		status = "okay";
	};

	/* USI_4_CMGP_I2C */
	usi_4_cmgp_i2c: usi@11C12044 {
		usi_v2_mode = "i2c";
		status = "okay";
	};

	/* USI_PERI_UART */
	usi_peri_uart: usi@10011010 {
		/*	usi_v2_mode = "i2c" or "spi" or "uart"	*/
		status = "disabled";
	};

	/* USI_PERI_CAMI2C_0 */
	usi_peri_cami2c_0: usi@10011020 {
		/*	usi_v2_mode = "i2c" or "spi" or "uart"	*/
		status = "disabled";
	};

	/* USI_PERI_CAMI2C_1 */
	usi_peri_cami2c_1: usi@10011024 {
		/*	usi_v2_mode = "i2c" or "spi" or "uart"	*/
		status = "disabled";
	};

	/* USI_PERI_CAMI2C_2 */
	usi_peri_cami2c_2: usi@10011028 {
		/*	usi_v2_mode = "i2c" or "spi" or "uart"	*/
		status = "disabled";
	};

	/* USI_PERI_CAMI2C_3 */
	usi_peri_cami2c_3: usi@1001102C {
		/*	usi_v2_mode = "i2c" or "spi" or "uart"	*/
		status = "disabled";
	};

	/* USI_PERI_SPI_0 */
	usi_peri_spi_0: usi@10011030 {
		/*	usi_v2_mode = "i2c" or "spi" or "uart"	*/
		status = "disabled";
	};

	/* USI_PERI_SPI_1 */
	usi_peri_spi_1: usi@10011034 {
		/*	usi_v2_mode = "i2c" or "spi" or "uart"	*/
		status = "disabled";
	};

	/* USI_PERI_USI_0 */
	usi_peri_usi_0: usi@1001103C {
		/*	usi_v2_mode = "i2c" or "spi" or "uart"	*/
		status = "disabled";
	};

	/* USI_PERI_USI_0_I2C */
	usi_peri_usi_0_i2c: usi@10011040 {
		/*	usi_v2_mode = "i2c" or "spi" or "uart"	*/
		status = "disabled";
	};

	/* USI_PERI_SPI_2 */
	usi_peri_spi_2: usi@10011038 {
		/*	usi_v2_mode = "i2c" or "spi" or "uart"	*/
		status = "disabled";
	};

	usb_notifier {
		compatible = "samsung,usb-notifier";
		udc = <&udc>;
	};

	dwmmc0@13500000 {
		status = "disabled";
		num-slots = <1>;
		broken-cd;
		fixed_voltage;
		supports-highspeed;
		mmc-ddr-1_8v;
		mmc-hs200-1_8v;
		mmc-hs400-1_8v;
		supports-8bit;
		supports-cmd23;
		supports-erase;
		supports-hs400-enhanced-strobe;
		card-init-hwacg-ctrl;
		pm-skip-mmc-resume-init;
		support-cmdq;
		qos-dvfs-level = <100000>;
		fifo-depth = <0x40>;
		non-removable;
		desc-size = <4>;
		card-detect-delay = <200>;
		samsung,dw-mshc-ciu-div = <3>;
		samsung,dw-mshc-txdt-crc-timer-fastlimit = <0x13>;
		samsung,dw-mshc-txdt-crc-timer-initval = <0x15>;
		samsung,dw-mshc-hs400-delay-line = <0x60>;
		samsung,dw-mshc-sdr-timing = <3 0 4 0>;
		samsung,dw-mshc-ddr-timing = <3 0 4 2>;
		samsung,dw-mshc-hs200-timing = <3 0 3 0>;
		samsung,dw-mshc-hs400-timing = <1 0 2 0>;
		samsung,dw-mshc-hs400-ulp-timing = <3 0 2 0>;

		num-ref-clks = <12>;
		ciu_clkin = <25 50 50 25 50 100 200 50 50 200 200 200>;

		/* Swapping clock drive strength */
		clk-drive-number = <4>;
		pinctrl-names = "default",
			"fast-slew-rate-1x",
			"fast-slew-rate-2x",
			"fast-slew-rate-3x",
			"fast-slew-rate-4x";
		pinctrl-0 = <&sd0_clk &sd0_cmd &sd0_rdqs &sd0_bus1 &sd0_bus4 &sd0_bus8>;
		pinctrl-1 = <&sd0_clk_fast_slew_rate_1x>;
		pinctrl-2 = <&sd0_clk_fast_slew_rate_2x>;
		pinctrl-3 = <&sd0_clk_fast_slew_rate_3x>;
		pinctrl-4 = <&sd0_clk_fast_slew_rate_4x>;
		slot@0 {
			reg = <0>;
			bus-width = <8>;
		};
	};

	pinctrl@11850000 {
		dwmmc2_cd_ext_irq: dwmmc2_cd_ext_irq {
			samsung,pins = "gpa0-7";
			samsung,pin-function = <0xf>;
			samsung,pin-pud = <3>;
			samsung,pin-drv = <3>;
		};
	};

	dwmmc2@13550000 {
		status = "okay";
		num-slots = <1>;
		supports-4bit;
		supports-cmd23;
		supports-erase;
		supports-highspeed;
		sd-uhs-sdr50;
		sd-uhs-sdr104;
		card-detect-gpio;
		bypass-for-allpass;
		card-init-hwacg-ctrl;
		skip-init-mmc-scan;
		qos-dvfs-level = <100000>;
		fifo-depth = <0x40>;
		desc-size = <4>;
		card-detect-delay = <200>;
		data-timeout = <200>;
		hto-timeout = <80>;
		samsung,dw-mshc-ciu-div = <3>;
		clock-frequency = <800000000>;
		samsung,dw-mshc-sdr-timing = <3 0 2 0>;
		samsung,dw-mshc-ddr-timing = <3 0 2 1>;
		samsung,dw-mshc-sdr50-timing = <3 0 4 2>;
		samsung,dw-mshc-sdr104-timing = <3 0 3 0>;

		num-ref-clks = <9>;
		ciu_clkin = <25 50 50 25 50 100 200 50 50>;

		/* Swapping clock drive strength */
		clk-drive-number = <4>;
		pinctrl-names = "default",
			"fast-slew-rate-1x",
			"fast-slew-rate-2x",
			"fast-slew-rate-3x",
			"fast-slew-rate-4x";
		pinctrl-0 = <&sd2_clk &sd2_cmd &sd2_bus1 &sd2_bus4 &dwmmc2_cd_ext_irq>;
		pinctrl-1 = <&sd2_clk_fast_slew_rate_1x>;
		pinctrl-2 = <&sd2_clk_fast_slew_rate_2x>;
		pinctrl-3 = <&sd2_clk_fast_slew_rate_3x>;
		pinctrl-4 = <&sd2_clk_fast_slew_rate_4x>;

		card-detect = <&gpa0 7 0xf>;
		slot@0 {
			reg = <0>;
			bus-width = <4>;
			disable-wp;
		};
	};

	fimc_is@144B0000 {
		vender {
			rear_sensor_id = <47>; /* 46: RPB, 20: 2P8, 47: 2P7SQ */
			front_sensor_id = <7>; /* 6B2 */
			rear_second_sensor_id = <48>; /* 48: 2T7SX  */
			secure_sensor_id = <22>; /* 5E2 */
		};

		fimc_is_dvfs {
			#define DVFS_INT_CAM_L0 690000
			#define DVFS_INT_CAM_L1 680000
			#define DVFS_INT_CAM_L2 670000
			#define DVFS_INT_CAM_L3 660000
			#define DVFS_INT_CAM_L4 650000

			#define DVFS_INT_L0 667000
			#define DVFS_INT_L1 533000
			#define DVFS_INT_L2 400000
			#define DVFS_INT_L3 200000
			#define DVFS_INT_L4 100000

			#define DVFS_CAM_L0 690000
			#define DVFS_CAM_L1 680000
			#define DVFS_CAM_L2 670000
			#define DVFS_CAM_L3 660000
			#define DVFS_CAM_L4 650000
			#define DVFS_CAM_L5 640000

			#define DVFS_MIF_L0 2093000
			#define DVFS_MIF_L1 2002000
			#define DVFS_MIF_L2 1794000
			#define DVFS_MIF_L3 1539000
			#define DVFS_MIF_L4 1352000
			#define DVFS_MIF_L5 1014000
			#define DVFS_MIF_L6 845000
			#define DVFS_MIF_L7 676000
			#define DVFS_MIF_L8 546000
			#define DVFS_MIF_L9 419000

			table0 {
				desc = "dvfs table v0.0 for 16M/2M";

				default_int_cam = <DVFS_INT_CAM_L0>;
				default_cam = <DVFS_CAM_L0>;
				default_mif = <DVFS_MIF_L0>;
				default_int = <DVFS_INT_L4>;
				default_hpg = <1>;

				front_preview_int_cam = <DVFS_INT_CAM_L0>;
				front_preview_cam = <DVFS_CAM_L0>;
				front_preview_mif = <DVFS_MIF_L0>;
				front_preview_int = <DVFS_INT_L4>;
				front_preview_hpg = <1>;

				front_preview_full_int_cam = <DVFS_INT_CAM_L0>;
				front_preview_full_cam = <DVFS_CAM_L0>;
				front_preview_full_mif = <DVFS_MIF_L0>;
				front_preview_full_int = <DVFS_INT_L4>;
				front_preview_full_hpg = <1>;

				front_capture_int_cam = <DVFS_INT_CAM_L0>;
				front_capture_cam = <DVFS_CAM_L0>;
				front_capture_mif = <DVFS_MIF_L0>;
				front_capture_int = <DVFS_INT_L4>;
				front_capture_hpg = <1>;

				front_video_int_cam = <DVFS_INT_CAM_L0>;
				front_video_cam = <DVFS_CAM_L0>;
				front_video_mif = <DVFS_MIF_L0>;
				front_video_int = <DVFS_INT_L4>;
				front_video_hpg = <1>;

				front_video_capture_int_cam = <DVFS_INT_CAM_L0>;
				front_video_capture_cam = <DVFS_CAM_L0>;
				front_video_capture_mif = <DVFS_MIF_L0>;
				front_video_capture_int = <DVFS_INT_L4>;
				front_video_capture_hpg = <1>;

				front_wide_selfie_int_cam = <DVFS_INT_CAM_L0>;
				front_wide_selfie_cam = <DVFS_CAM_L0>;
				front_wide_selfie_mif = <DVFS_MIF_L0>;
				front_wide_selfie_int = <DVFS_INT_L4>;
				front_wide_selfie_hpg = <1>;

				front_vt1_int_cam = <DVFS_INT_CAM_L0>;
				front_vt1_cam = <DVFS_CAM_L0>;
				front_vt1_mif = <DVFS_MIF_L0>;
				front_vt1_int = <DVFS_INT_L4>;
				front_vt1_hpg = <1>;

				front_vt2_int_cam = <DVFS_INT_CAM_L0>;
				front_vt2_cam = <DVFS_CAM_L0>;
				front_vt2_mif = <DVFS_MIF_L0>;
				front_vt2_int = <DVFS_INT_L4>;
				front_vt2_hpg = <1>;

				front_vt4_int_cam = <DVFS_INT_CAM_L0>;
				front_vt4_cam = <DVFS_CAM_L0>;
				front_vt4_mif = <DVFS_MIF_L0>;
				front_vt4_int = <DVFS_INT_L4>;
				front_vt4_hpg = <1>;

				rear_preview_fhd_int_cam = <DVFS_INT_CAM_L0>;
				rear_preview_fhd_cam = <DVFS_CAM_L0>;
				rear_preview_fhd_mif = <DVFS_MIF_L0>;
				rear_preview_fhd_int = <DVFS_INT_L4>;
				rear_preview_fhd_hpg = <1>;

				rear_preview_hd_int_cam = <DVFS_INT_CAM_L0>;
				rear_preview_hd_cam = <DVFS_CAM_L0>;
				rear_preview_hd_mif = <DVFS_MIF_L0>;
				rear_preview_hd_int = <DVFS_INT_L4>;
				rear_preview_hd_hpg = <1>;

				rear_preview_uhd_int_cam = <DVFS_INT_CAM_L0>;
				rear_preview_uhd_cam = <DVFS_CAM_L0>;
				rear_preview_uhd_mif = <DVFS_MIF_L0>;
				rear_preview_uhd_int = <DVFS_INT_L4>;
				rear_preview_uhd_hpg = <1>;

				rear_preview_full_int_cam = <DVFS_INT_CAM_L0>;
				rear_preview_full_cam = <DVFS_CAM_L0>;
				rear_preview_full_mif = <DVFS_MIF_L0>;
				rear_preview_full_int = <DVFS_INT_L4>;
				rear_preview_full_hpg = <1>;

				rear_capture_int_cam = <DVFS_INT_CAM_L0>;
				rear_capture_cam = <DVFS_CAM_L0>;
				rear_capture_mif = <DVFS_MIF_L0>;
				rear_capture_int = <DVFS_INT_L4>;
				rear_capture_hpg = <1>;

				rear_video_fhd_int_cam = <DVFS_INT_CAM_L0>;
				rear_video_fhd_cam = <DVFS_CAM_L0>;
				rear_video_fhd_mif = <DVFS_MIF_L0>;
				rear_video_fhd_int = <DVFS_INT_L4>;
				rear_video_fhd_hpg = <1>;

				rear_video_hd_int_cam = <DVFS_INT_CAM_L0>;
				rear_video_hd_cam = <DVFS_CAM_L0>;
				rear_video_hd_mif = <DVFS_MIF_L0>;
				rear_video_hd_int = <DVFS_INT_L4>;
				rear_video_hd_hpg = <1>;

				rear_video_uhd_int_cam = <DVFS_INT_CAM_L0>;
				rear_video_uhd_cam = <DVFS_CAM_L0>;
				rear_video_uhd_mif = <DVFS_MIF_L0>;
				rear_video_uhd_int = <DVFS_INT_L4>;
				rear_video_uhd_hpg = <1>;

				rear_video_fhd_capture_int_cam = <DVFS_INT_CAM_L0>;
				rear_video_fhd_capture_cam = <DVFS_CAM_L0>;
				rear_video_fhd_capture_mif = <DVFS_MIF_L0>;
				rear_video_fhd_capture_int = <DVFS_INT_L4>;
				rear_video_fhd_capture_hpg = <1>;

				rear_video_hd_capture_int_cam = <DVFS_INT_CAM_L0>;
				rear_video_hd_capture_cam = <DVFS_CAM_L0>;
				rear_video_hd_capture_mif = <DVFS_MIF_L0>;
				rear_video_hd_capture_int = <DVFS_INT_L4>;
				rear_video_hd_capture_hpg = <1>;

				rear_video_uhd_capture_int_cam = <DVFS_INT_CAM_L0>;
				rear_video_uhd_capture_cam = <DVFS_CAM_L0>;
				rear_video_uhd_capture_mif = <DVFS_MIF_L0>;
				rear_video_uhd_capture_int = <DVFS_INT_L4>;
				rear_video_uhd_capture_hpg = <1>;

				secure_front_int_cam = <DVFS_INT_CAM_L0>;
				secure_front_cam = <DVFS_CAM_L0>;
				secure_front_mif = <DVFS_MIF_L0>;
				secure_front_int = <DVFS_INT_L4>;
				secure_front_hpg = <1>;

				pip_preview_int_cam = <DVFS_INT_CAM_L0>;
				pip_preview_cam = <DVFS_CAM_L0>;
				pip_preview_mif = <DVFS_MIF_L0>;
				pip_preview_int = <DVFS_INT_L4>;
				pip_preview_hpg = <1>;

				pip_capture_int_cam = <DVFS_INT_CAM_L0>;
				pip_capture_cam = <DVFS_CAM_L0>;
				pip_capture_mif = <DVFS_MIF_L0>;
				pip_capture_int = <DVFS_INT_L4>;
				pip_capture_hpg = <1>;

				pip_video_int_cam = <DVFS_INT_CAM_L0>;
				pip_video_cam = <DVFS_CAM_L0>;
				pip_video_mif = <DVFS_MIF_L0>;
				pip_video_int = <DVFS_INT_L4>;
				pip_video_hpg = <1>;

				pip_video_capture_int_cam = <DVFS_INT_CAM_L0>;
				pip_video_capture_cam = <DVFS_CAM_L0>;
				pip_video_capture_mif = <DVFS_MIF_L0>;
				pip_video_capture_int = <DVFS_INT_L4>;
				pip_video_capture_hpg = <1>;

				preview_high_speed_fps_int_cam = <DVFS_INT_CAM_L1>;
				preview_high_speed_fps_cam = <DVFS_CAM_L3>;
				preview_high_speed_fps_mif = <DVFS_MIF_L5>;
				preview_high_speed_fps_int = <DVFS_INT_L4>;
				preview_high_speed_fps_hpg = <1>;

				video_high_speed_60fps_int_cam = <DVFS_INT_CAM_L0>;
				video_high_speed_60fps_cam = <DVFS_CAM_L0>;
				video_high_speed_60fps_mif = <DVFS_MIF_L0>;
				video_high_speed_60fps_int = <DVFS_INT_L4>;
				video_high_speed_60fps_hpg = <1>;

				video_high_speed_480fps_int_cam = <DVFS_INT_CAM_L0>;
				video_high_speed_480fps_cam = <DVFS_CAM_L0>;
				video_high_speed_480fps_mif = <DVFS_MIF_L0>;
				video_high_speed_480fps_int = <DVFS_INT_L4>;
				video_high_speed_480fps_hpg = <1>;

				video_high_speed_60fps_capture_int_cam = <DVFS_INT_CAM_L0>;
				video_high_speed_60fps_capture_cam = <DVFS_CAM_L0>;
				video_high_speed_60fps_capture_mif = <DVFS_MIF_L0>;
				video_high_speed_60fps_capture_int = <DVFS_INT_L4>;
				video_high_speed_60fps_capture_hpg = <1>;

				ext_front_int_cam = <DVFS_INT_CAM_L0>;
				ext_front_cam = <DVFS_CAM_L0>;
				ext_front_mif = <DVFS_MIF_L0>;
				ext_front_int = <DVFS_INT_L4>;
				ext_front_hpg = <1>;

				ext_secure_int_cam = <DVFS_INT_CAM_L3>;
				ext_secure_cam = <DVFS_CAM_L4>;
				ext_secure_mif = <DVFS_MIF_L7>;
				ext_secure_int = <DVFS_INT_L4>;
				ext_secure_hpg = <1>;

				max_int_cam = <DVFS_INT_CAM_L0>;
				max_cam = <DVFS_CAM_L0>;
				max_mif = <DVFS_MIF_L0>;
				max_int = <DVFS_INT_L0>;
				max_hpg = <1>;
			};
		};
	};

	fimc_is_flash_gpio: fimc-is-flash-gpio@0 {
		compatible = "samsung,sensor-flash-gpio";
		id = <0>;
		status = "okay";

		torch-gpio = <&gpg3 1 0x1>;
		flash-gpio = <&gpg3 0 0x1>;
	};

	fimc_is_sensor_2p7sq: fimc-is_sensor_2p7sq@47 {
		compatible = "samsung,sensor-module-2p7sq";

		pinctrl-names = "pin0", "pin1", "pin2", "release";
		pinctrl-0 = <>;
		pinctrl-1 = <&fimc_is_mclk0_out>;
		pinctrl-2 = <&fimc_is_mclk0_fn>;
		pinctrl-3 = <>;

		position = <0>;	/* Rear:0. Front:1. Rear_sub:2. Secure:3. */
		id = <0>; /* fimc_is_sensor id */
		mclk_ch = <0>;
		sensor_i2c_ch = <0>; /* SENSOR_CONTROL_I2C0 */

		gpio_mclk = <&gpc2 0 0x1>;
		gpio_reset = <&gpc1 0 0x1>; /* sensor reset */

		power_seq_id = <1>; /* Rumba S6 Compatible */

		status = "okay";

		af {
			product_name = <20>; /* ACTUATOR_NAME_LC898217 */
			i2c_ch = <0>; /* SENSOR_CONTROL_I2C0 */
		};

		flash {
			product_name = <11>; /* FLASH_GPIO */
		};
	};

	fimc_is_sensor_2t7sx: fimc-is_sensor_2t7sx@48 {
		compatible = "samsung,sensor-module-2t7sx";

		pinctrl-names = "pin0", "pin1", "pin2", "release";
		pinctrl-0 = <>;
		pinctrl-1 = <&fimc_is_mclk2_out>;
		pinctrl-2 = <&fimc_is_mclk2_fn>;
		pinctrl-3 = <>;

		position = <2>;	/* Rear:0. Front:1. Rear_sub:2. Secure:3. */
		id = <2>; /* fimc_is_sensor id */
		mclk_ch = <2>;
		sensor_i2c_ch = <1>; /* SENSOR_CONTROL_I2C1 */

		gpio_mclk = <&gpc2 2 0x1>;
		gpio_reset = <&gpc0 6 0x1>; /* sensor reset */

		power_seq_id = <1>; /* Rumba S6 Compatible */

		status = "okay";

		af {
			product_name = <20>; /* ACTUATOR_NAME_LC898217 */
			i2c_ch = <1>; /* SENSOR_CONTROL_I2C1 */
		};

		flash {
			product_name = <11>; /* FLASH_GPIO */
		};
	};

	/* FRONT CAMERA */
	fimc_is_sensor_6b2: fimc-is_sensor_6b2@7 {
		compatible = "samsung,sensor-module-6b2";

		pinctrl-names = "pin0", "pin1", "pin2", "release";
		pinctrl-0 = <>;
		pinctrl-1 = <&fimc_is_mclk1_out>;
		pinctrl-2 = <&fimc_is_mclk1_fn>;
		pinctrl-3 = <>;

		position = <1>;	/* Rear:0. Front:1. Rear_sub:2. Secure:3. */
		id = <1>; /* fimc_is_sensor id */
		mclk_ch = <1>;
		sensor_i2c_ch = <2>; /* SENSOR_CONTROL_I2C4 */

		gpio_mclk = <&gpc2 1 0x1>;
		gpio_reset = <&gpc1 2 0x1>; /* sensor reset */
		status = "okay";

		af {
			product_name = <100>; /* NOTHING */
			i2c_ch = <2>; /* SENSOR_CONTROL_I2C2 */
		};

		flash {
			product_name = <100>; /* NOTHING */
		};

		ois {
			product_name = <100>; /* NOTHING */
		};

		internal_vc {
			/* DUMMY */
		};
	};

	/* I2C_CAM0 */ /* SENSOR_CONTROL_I2C0 */
	hsi2c_12: hsi2c@138A0000 {
		gpios = <&gpc0 0 0 &gpc0 1 0>;
		status = "okay";
		clock-frequency = <400000>;
		samsung,reset-before-trans;
		samsung,polling-mode;

		fimc-is-2p7sq@2d {
			compatible = "samsung,exynos5-fimc-is-cis-2p7sq";
			reg = <0x2d>; /* 1 bit right shift */
			id = <0>; /* matching fimc_is_sensor id */
			setfile = "setA";
		};

		fimc-is-actuator@72 {
			compatible = "samsung,exynos5-fimc-is-actuator-lc898217";
			reg = <0x72>; /* 1 bit right shift */
			id = <0>; /* matching fimc_is_sensor id */
			place = <0>;
		};
	};

	/* I2C_CAM1 */ /* SENSOR_CONTROL_I2C1 */
	hsi2c_13: hsi2c@138B0000 {
		gpios = <&gpc0 2 0 &gpc0 3 0>;
		status = "okay";
		clock-frequency = <400000>;
		samsung,reset-before-trans;
		samsung,polling-mode;

		fimc-is-2t7sx@10 {
			compatible = "samsung,exynos5-fimc-is-cis-2t7sx";
			reg = <0x10>; /* 1 bit right shift */
			id = <2>; /* matching fimc_is_sensor id */
			setfile = "setA";
		};

		fimc-is-actuator@74 {
			compatible = "samsung,exynos5-fimc-is-actuator-lc898217";
			reg = <0x74>; /* 1 bit right shift */
			id = <2>; /* matching fimc_is_sensor id */
			place = <1>; /* HACK */
		};
	};

	/* I2C_CAM2 */ /* SENSOR_CONTROL_I2C2 */
	hsi2c_14: hsi2c@138C0000 {
		gpios = <&gpc0 4 0 &gpc0 5 0>;
		status = "okay";
		clock-frequency = <400000>;
		samsung,reset-before-trans;

		fimc-is-6b2@35 {
			compatible = "samsung,exynos5-fimc-is-cis-6b2";
			reg = <0x35>; /* 1 bit right shift */
			id = <1>; /* matching fimc_is_sensor id */
			setfile = "setA";
		};
	};

	/* I2C_CAM3 */ /* SENSOR_CONTROL_I2C3 */
	hsi2c_15: hsi2c@138D0000 {
		gpios = <&gpc0 6 0 &gpc0 7 0>;
		status = "okay";
		clock-frequency = <400000>;
		samsung,reset-before-trans;

		fimc-is-actuator@72 {
			compatible = "samsung,exynos5-fimc-is-actuator-dw9780";
			reg = <0x72>; /* 1 bit right shift */
			id = <0>; /* matching fimc_is_sensor id */
			place = <1>; /* HACK */
		};
	};

	fimc_is_sensor0: fimc_is_sensor@14400000 {
		scenario = <SENSOR_SCENARIO_NORMAL>;	/* Normal, Vision, OIS etc */
		id = <0>;
		csi_ch = <0>;
		dma_ch = <0 0 0 0 0 1 1 1>;
		vc_ch = <0 1 2 3 0 1 2 3>;
		flite_ch = <FLITE_ID_NOTHING>;
		is_bns = <0>;
		/* use_ssvc1_internal; */
		/* use_ssvc2_internal; */
		status = "okay";
	};

	fimc_is_sensor1: fimc_is_sensor@14410000 {
		scenario = <SENSOR_SCENARIO_NORMAL>;	/* Normal, Vision, OIS etc */
		id = <1>;
		csi_ch = <1>;
		dma_ch = <2 2 2 2 2 1 1 1>;
		vc_ch = <0 1 2 3 1 2 1 3>;
		flite_ch = <FLITE_ID_NOTHING>;
		is_bns = <0>;
		status = "okay";
	};

	fimc_is_sensor2: fimc_is_sensor@14420000 {
		scenario = <SENSOR_SCENARIO_NORMAL>;	/* Normal, Vision, OIS etc */
		id = <2>;
		csi_ch = <2>;
		dma_ch = <2 2 2 2>;
		vc_ch = <0 1 2 3>;
		flite_ch = <FLITE_ID_NOTHING>;
		is_bns = <0>;
		status = "okay";
	};

	fimc_is_sensor3: fimc_is_sensor@14430000 {
		scenario = <SENSOR_SCENARIO_SECURE>;	/* Normal, Vision, OIS etc */
		id = <3>;
		csi_ch = <3>;
		dma_ch = <3 3 3 3>;
		vc_ch = <0 1 2 3>;
		flite_ch = <FLITE_ID_NOTHING>;
		is_bns = <0>;
		status = "okay";
	};

	/* CMGP */
	/*
	 * CMGP_M0(142), CMGP_M1(143) : Used for vsync EINT of SHUB
	 * CMGP_M12(173), CMGP_M13(174) : Used for CSIS VVALID output
	 */
	pinctrl_1: pinctrl@11C20000{
		compatible = "samsung,exynos9610-pinctrl";
		reg = <0x0 0x11C20000 0x1000>;
		interrupts = <0 144 0>, <0 145 0>,
				<0 158 0>, <0 159 0>, <0 160 0>, <0 161 0>,
				<0 162 0>, <0 170 0>, <0 171 0>, <0 172 0>,
				<0 185 0>, <0 196 0>,
				<0 197 0>, <0 226 0>, <0 227 0>, <0 228 0>,
				<0 269 0>, <0 270 0>, <0 272 0>, <0 278 0>,
				<0 318 0>, <0 319 0>;

		wakeup-interrupt-controller {
			compatible = "samsung,exynos7-wakeup-eint";
		};
	};


};
